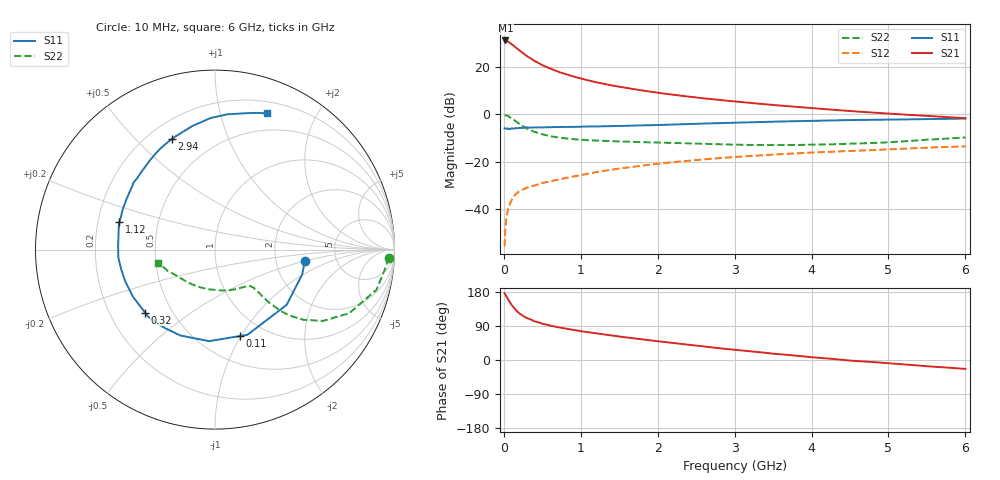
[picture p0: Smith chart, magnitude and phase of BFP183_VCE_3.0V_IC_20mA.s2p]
! Infineon Technologies  Discrete & RF Semiconductors
! BFP183
! VCE = 3.0 V,  IC =  20 mA
! Common Emitter S-Parameters:  Jan 2016
# GHz  S  MA  R  50
!  f  S11  S21  S12  S22
! GHz  MAG  ANG  MAG  ANG  MAG  ANG  MAG  ANG
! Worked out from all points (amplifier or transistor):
!   210 points, 10 MHz to 6 GHz, reference 50 ohm
!   highest |S21| = 31.4 dB at 20 MHz (marker M1)
!   |S21| within 3 dB of that: start of sweep to 157.7 MHz
!   unconditionally stable (mu >= 1): 801.8 MHz to 5.592 GHz
!   at 185 MHz: K = 0.39, MSG = 30.3 dB, |S12| = -33.0 dB
!   at 1.52 GHz: K = 1.14, MAG = 14.9 dB, |S12| = -22.9 dB
!   at 6 GHz: K = 0.96, MSG = 6.0 dB, |S12| = -13.6 dB
!   S11 on the Smith chart (normalised r, x): 10 MHz: 2.93, -0.52; 110 MHz: 0.77, -0.99; 320 MHz: 0.35, -0.34; 1.12 GHz: 0.29, +0.13; 2.94 GHz: 0.29, +0.64; 6 GHz: 0.31, +1.41
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0.01  0.5042 -7.5  36.93 176.0  0.0016 89.3  0.9688 -2.7
0.02  0.5052 -15.8  36.95 172.4  0.004 89.1  0.9573 -5.7
0.05  0.5043 -37.6  35.51 161.1  0.009 79.3  0.9271 -14.0
0.1  0.508 -69.2  31.09 145.3  0.0152 64.3  0.8275 -25.4
0.11  0.5013 -74.0  30.13 143.1  0.0162 62.6  0.8052 -26.8
0.15  0.5112 -93.6  26.8 132.7  0.0201 57.5  0.7218 -33.4
0.2  0.5158 -111.8  22.93 123.3  0.0234 53.1  0.6302 -38.4
0.26  0.5211 -126.5  19.19 115.1  0.026 50.3  0.5474 -41.7
0.32  0.5246 -138.0  16.47 109.3  0.0285 48.9  0.486 -43.2
0.4  0.5269 -150.0  13.55 102.0  0.0309 48.7  0.4243 -44.4
0.5  0.5307 -160.6  11.06 95.9  0.0351 48.8  0.3769 -44.6
0.6  0.5341 -168.4  9.401 90.8  0.0379 49.9  0.3452 -44.5
0.8  0.5402 178.6  7.147 82.8  0.0445 51.8  0.3089 -44.5
1.02  0.5487 167.9  5.642 75.5  0.0521 52.5  0.2882 -45.5
1.12  0.5547 163.9  5.154 72.5  0.0563 53.1  0.2818 -46.2
1.5  0.5679 150.3  3.853 61.9  0.0709 52.8  0.2662 -50.5
2.02  0.5952 134.1  2.839 49.1  0.0904 50.0  0.2524 -59.6
2.94  0.6613 111.3  1.921 28.2  0.1224 42.6  0.2292 -82.0
3.1  0.6713 107.9  1.815 25.1  0.1276 41.2  0.2259 -86.6
4.1  0.7369 90.5  1.319 5.8  0.1574 32.4  0.2285 -118.3
5.1  0.7769 77.8  1.013 -10.0  0.1837 24.8  0.2611 -146.8
6  0.8136 69.0  0.831 -23.5  0.2097 16.5  0.3233 -167.0
